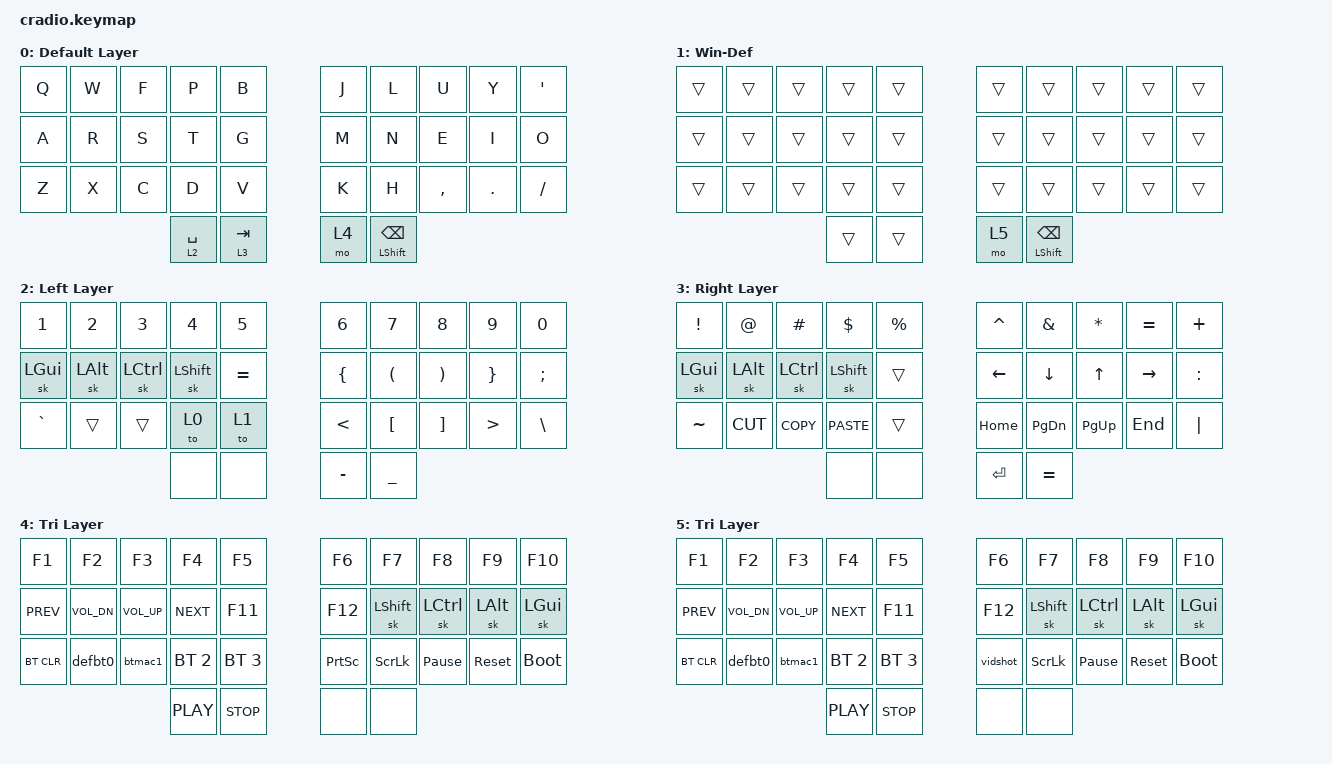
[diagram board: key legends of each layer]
// Copyright (c) 2022 The ZMK Contributors
// SPDX-License-Identifier: MIT

#include <behaviors.dtsi>
#include <dt-bindings/zmk/bt.h>
#include <dt-bindings/zmk/keys.h>

/ {
    behaviors {
        ht: hold_tap {
            compatible = "zmk,behavior-hold-tap";
            #binding-cells = <2>;
            flavor = "tap-preferred";
            tapping-term-ms = <220>;
            quick-tap-ms = <150>;
            require-prior-idle-ms = <100>;
            bindings = <&kp>, <&kp>;
        };

        vidshot: vidshot {
            compatible = "zmk,behavior-mod-morph";
            label = "VIDSHOT";
            bindings = <&kp LG(LS(NUMBER_4))>, <&kp LG(LS(N5))>;

            #binding-cells = <0>;
            mods = <(MOD_LCTL|MOD_LSFT|MOD_LALT|MOD_LGUI|MOD_RSFT)>;
        };
    };

    conditional_layers { compatible = "zmk,conditional-layers"; };

    combos {
        compatible = "zmk,combos";

        enter {
            bindings = <&kp ENTER>;
            key-positions = <33 16>;
            layers = <0 1>;
        };

        backspace {
            bindings = <&kp LC(BACKSPACE)>;
            key-positions = <9 8>;
            layers = <1>;
        };

        escape {
            bindings = <&kp ESCAPE>;
            key-positions = <1 0>;
            layers = <0 1>;
        };

        nosticky {
            bindings = <&kp F24>;
            key-positions = <33 30>;
        };

        capsword {
            bindings = <&caps_word>;
            key-positions = <13 16>;
            require-prior-idle-ms = <500>;
        };

        bootloader {
            bindings = <&bootloader>;
            key-positions = <0 31>;
            layers = <0 1>;
            require-prior-idle-ms = <1000>;
        };

        sh_enter {
            bindings = <&kp LS(ENTER)>;
            key-positions = <16 32>;
            layers = <0 1>;
        };

        MACDEL {
            bindings = <&kp LA(BACKSPACE)>;
            key-positions = <8 9>;
            layers = <0>;
        };

        reset {
            bindings = <&sys_reset>;
            key-positions = <0 30>;
        };

        grave {
            bindings = <&kp GRAVE>;
            key-positions = <0 1>;
            layers = <2>;
        };

        tilde {
            bindings = <&kp TILDE>;
            key-positions = <0 1>;
            layers = <3>;
        };
    };

    macros {
        defbt0: defbt0 {
            compatible = "zmk,behavior-macro";
            #binding-cells = <0>;
            bindings = <&bt BT_SEL 0 &to 0>;
            label = "DEFBT0";
        };

        btmac1: btmac1 {
            compatible = "zmk,behavior-macro";
            #binding-cells = <0>;
            bindings = <&bt BT_SEL 1 &to 1>;
            label = "BTMAC1";
        };
    };

    keymap {
        compatible = "zmk,keymap";

        Mac-Def {
            display-name = "Default Layer";
            bindings = <
&kp Q  &kp W  &kp F  &kp P        &kp B        &kp J  &kp L                &kp U      &kp Y    &kp APOS
&kp A  &kp R  &kp S  &kp T        &kp G        &kp M  &kp N                &kp E      &kp I    &kp O
&kp Z  &kp X  &kp C  &kp D        &kp V        &kp K  &kp H                &kp COMMA  &kp DOT  &kp FSLH
                     &lt 2 SPACE  &lt 3 TAB    &mo 4  &mt LEFT_SHIFT BSPC
            >;
        };

        Win-Def {
            bindings = <
&trans  &trans  &trans  &trans  &trans    &trans  &trans                    &trans  &trans  &trans
&trans  &trans  &trans  &trans  &trans    &trans  &trans                    &trans  &trans  &trans
&trans  &trans  &trans  &trans  &trans    &trans  &trans                    &trans  &trans  &trans
                        &trans  &trans    &mo 5   &mt LEFT_SHIFT BACKSPACE
            >;
        };

        left_layer {
            display-name = "Left Layer";
            bindings = <
&kp NUMBER_1  &kp NUMBER_2  &kp NUMBER_3      &kp N4          &kp N5       &kp N6          &kp N7                &kp N8                 &kp N9            &kp N0
&sk LEFT_GUI  &sk LEFT_ALT  &sk LEFT_CONTROL  &sk LEFT_SHIFT  &kp EQUAL    &kp LEFT_BRACE  &kp LEFT_PARENTHESIS  &kp RIGHT_PARENTHESIS  &kp RIGHT_BRACE   &kp SEMICOLON
&kp GRAVE     &trans        &trans            &to 0           &to 1        &kp LESS_THAN   &kp LBKT              &kp RBKT               &kp GREATER_THAN  &kp BACKSLASH
                                              &none           &none        &kp MINUS       &kp UNDERSCORE
            >;
        };

        right_layer {
            display-name = "Right Layer";
            bindings = <
&kp EXCLAMATION  &kp AT_SIGN   &kp HASH          &kp DOLLAR      &kp PERCENT    &kp CARET  &kp AMPERSAND  &kp ASTERISK  &kp EQUAL  &kp PLUS
&sk LEFT_GUI     &sk LEFT_ALT  &sk LEFT_CONTROL  &sk LEFT_SHIFT  &trans         &kp LEFT   &kp DOWN       &kp UP        &kp RIGHT  &kp COLON
&kp TILDE        &kp K_CUT     &kp K_COPY        &kp K_PASTE     &trans         &kp HOME   &kp PAGE_DOWN  &kp PAGE_UP   &kp END    &kp PIPE
                                                 &none           &none          &kp ENTER  &kp EQUAL
            >;
        };

        tri_layer {
            display-name = "Tri Layer";
            bindings = <
&kp F1      &kp F2        &kp F3        &kp F4        &kp F5          &kp F6           &kp F7          &kp F8            &kp F9        &kp F10
&kp C_PREV  &kp C_VOL_DN  &kp C_VOL_UP  &kp C_NEXT    &kp F11         &kp F12          &sk LEFT_SHIFT  &sk LEFT_CONTROL  &sk LEFT_ALT  &sk LEFT_GUI
&bt BT_CLR  &defbt0       &btmac1       &bt BT_SEL 2  &bt BT_SEL 3    &kp PRINTSCREEN  &kp SCROLLLOCK  &kp PAUSE_BREAK   &sys_reset    &bootloader
                                        &kp C_PLAY    &kp C_STOP      &none            &none
            >;
        };

        mac_tri {
            display-name = "Tri Layer";
            bindings = <
&kp F1      &kp F2        &kp F3        &kp F4        &kp F5          &kp F6    &kp F7          &kp F8            &kp F9        &kp F10
&kp C_PREV  &kp C_VOL_DN  &kp C_VOL_UP  &kp C_NEXT    &kp F11         &kp F12   &sk LEFT_SHIFT  &sk LEFT_CONTROL  &sk LEFT_ALT  &sk LEFT_GUI
&bt BT_CLR  &defbt0       &btmac1       &bt BT_SEL 2  &bt BT_SEL 3    &vidshot  &kp SCROLLLOCK  &kp PAUSE_BREAK   &sys_reset    &bootloader
                                        &kp C_PLAY    &kp C_STOP      &none     &none
            >;
        };
    };
};
